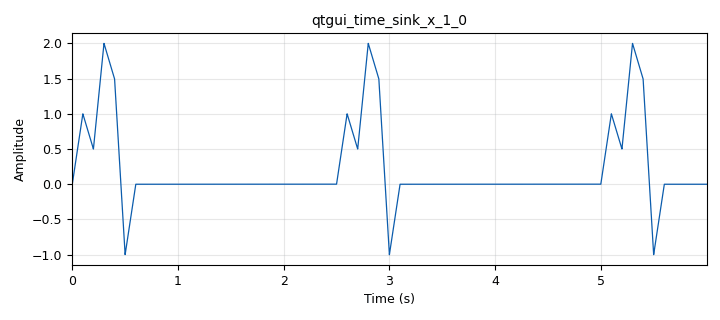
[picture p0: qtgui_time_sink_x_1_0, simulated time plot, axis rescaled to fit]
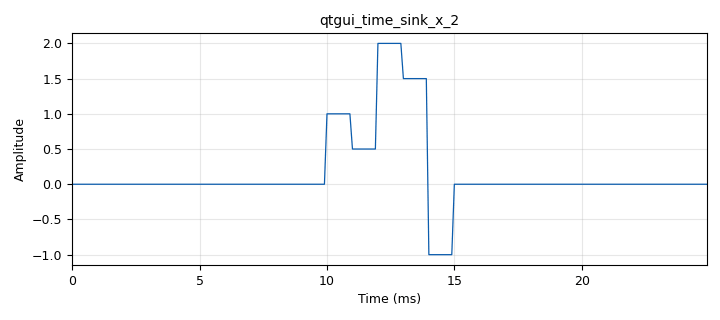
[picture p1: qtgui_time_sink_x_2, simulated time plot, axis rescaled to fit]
options:
  parameters:
    author: prate
    generate_options: qt_gui
    id: interpolation
    output_language: python
    title: Not titled yet
  states: {}

blocks:
- name: n
  id: variable
  parameters:
    value: '1000'
  states: {}
- name: samp_rate
  id: variable
  parameters:
    value: '10000'
  states: {}
- name: blocks_repeat_0
  id: blocks_repeat
  parameters:
    interp: '10'
    type: float
  states: {state: disabled}
- name: blocks_repeat_1
  id: blocks_repeat
  parameters:
    interp: '10'
    type: float
  states: {}
- name: blocks_throttle_0
  id: blocks_throttle
  parameters:
    samples_per_second: samp_rate
    type: float
  states: {state: disabled}
- name: blocks_throttle_1
  id: blocks_throttle
  parameters:
    samples_per_second: samp_rate
    type: float
  states: {state: disabled}
- name: blocks_throttle_2
  id: blocks_throttle
  parameters:
    samples_per_second: samp_rate
    type: float
  states: {}
- name: blocks_vector_source_x_0
  id: blocks_vector_source_x
  parameters:
    repeat: 'True'
    type: float
    vector: '[0]*10+[1,0.5,2,1.5,-1]+[0]*10'
  states: {}
- name: interp_fir_filter_xxx_0
  id: interp_fir_filter_xxx
  parameters:
    interp: n
    taps: '[1-abs(i/n) for i in range(-n,n)]'
    type: fff
  states: {}
- name: qtgui_time_sink_x_0
  id: qtgui_time_sink_x
  parameters:
    size: '40'
    srate: samp_rate
    type: float
  states: {state: disabled}
- name: qtgui_time_sink_x_0_0
  id: qtgui_time_sink_x
  parameters:
    size: '40'
    srate: samp_rate
    type: float
  states: {state: disabled}
- name: qtgui_time_sink_x_1
  id: qtgui_time_sink_x
  parameters:
    size: '1024'
    srate: samp_rate
    type: float
  states: {state: disabled}
- name: qtgui_time_sink_x_1_0
  id: qtgui_time_sink_x
  parameters:
    size: 60*n
    srate: samp_rate
    type: float
  states: {}
- name: qtgui_time_sink_x_2
  id: qtgui_time_sink_x
  parameters:
    size: '250'
    srate: samp_rate
    type: float
  states: {}

connections:
- [blocks_repeat_0, '0', qtgui_time_sink_x_1, '0']
- [blocks_repeat_1, '0', blocks_throttle_2, '0']
- [blocks_throttle_0, '0', qtgui_time_sink_x_0, '0']
- [blocks_throttle_1, '0', blocks_repeat_0, '0']
- [blocks_throttle_2, '0', qtgui_time_sink_x_2, '0']
- [blocks_vector_source_x_0, '0', blocks_repeat_1, '0']
- [blocks_vector_source_x_0, '0', blocks_throttle_0, '0']
- [blocks_vector_source_x_0, '0', blocks_throttle_1, '0']
- [blocks_vector_source_x_0, '0', interp_fir_filter_xxx_0, '0']
- [blocks_vector_source_x_0, '0', qtgui_time_sink_x_0_0, '0']
- [interp_fir_filter_xxx_0, '0', qtgui_time_sink_x_1_0, '0']

metadata:
  file_format: 1
